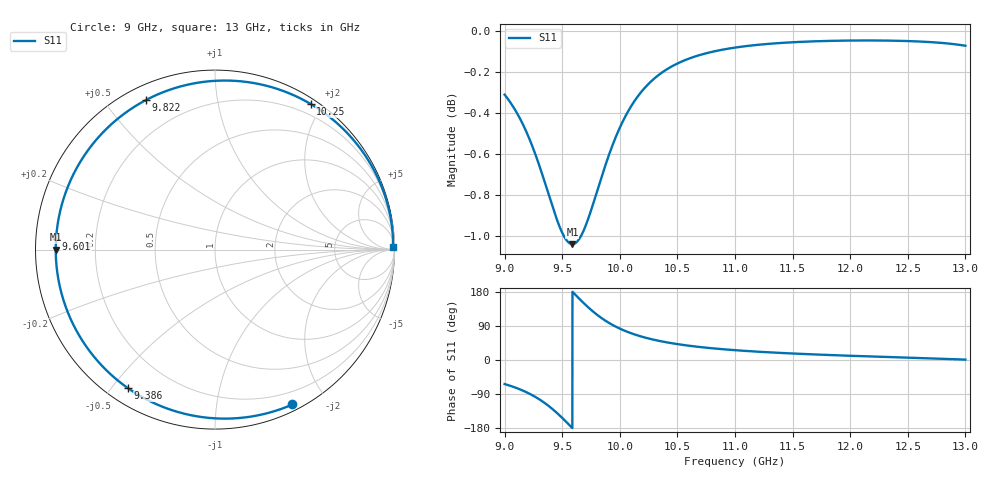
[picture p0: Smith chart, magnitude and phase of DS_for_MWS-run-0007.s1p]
! TOUCHSTONE file generated by CST DESIGN STUDIO
! Date and time: Tue Feb  4 17:14:58 2025
! Project name: C:\Work\MatlabApps\UnitCellOptimizationMatlab\CST\unitcell.cst
! Tree item: Tasks\Sweep1\SPara1\S-Parameters
! Header version: 2024
! Port assignment regex: !\s*Touchstone port\s*([0-9]+)\s*=\s*(CST MWS port|CST DES external port|CST DES block port)\s*(.+)\s* \(\"(.*)\"\)(\s*mode\s*([0-9]+))?.*
! Touchstone port assignment:
! Touchstone port 1 = CST DES external port 1 ("")
# GHz S MA R 50
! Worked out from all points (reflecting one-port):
!   4001 points, 9 GHz to 13 GHz, reference 50 ohm
!   lowest |S11| = -1.0 dB at 9.589 GHz (marker M1), VSWR 16.76, Z = 2.98 + j0.00236 ohm
!   phase of S11 starts at -63 deg and turns -296 deg over the sweep
!   S11 on the Smith chart (normalised r, x): 9 GHz: 0.06, -1.62; 9.386 GHz: 0.06, -0.55; 9.601 GHz: 0.06, +0.03; 9.822 GHz: 0.06, +0.64; 10.25 GHz: 0.07, +1.85; 13 GHz: open
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9  0.9648 -63.4
9.047  0.9609 -67.9
9.116  0.954 -75.4
9.234  0.9384 -91.8
9.315  0.9248 -106.5
9.386  0.9117 -122.1
9.442  0.9016 -136.4
9.5  0.8931 -152.7
9.546  0.8888 -166.6
9.589  0.8874 180.0
9.601  0.8875 176.2
9.657  0.8908 159.0
9.719  0.899 140.9
9.77  0.9079 127.3
9.822  0.9177 114.9
9.861  0.9249 106.6
9.903  0.9323 98.5
10  0.9471 82.9
10.118  0.9605 68.5
10.25  0.9707 56.8
10.366  0.9768 48.9
10.5  0.9818 41.9
10.72  0.9869 33.4
11  0.9906 25.9
11.5  0.9935 17.1
12  0.9945 11.1
12.5  0.9942 6.2
13  0.9916 1.0
